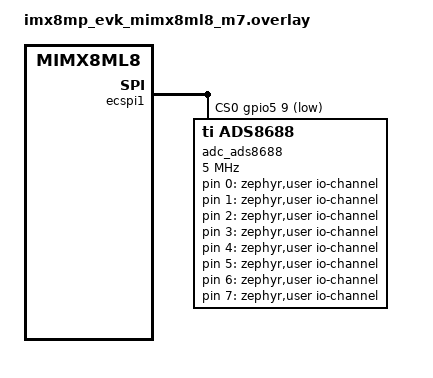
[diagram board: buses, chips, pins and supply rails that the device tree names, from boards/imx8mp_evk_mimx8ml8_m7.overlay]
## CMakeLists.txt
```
cmake_minimum_required(VERSION 3.20.0)

# ADS868x ドライバはこのリポで保守する out-of-tree モジュール (zephyr-modules/ads868x)
list(APPEND EXTRA_ZEPHYR_MODULES ${CMAKE_CURRENT_SOURCE_DIR}/../../zephyr-modules/ads868x)

find_package(Zephyr REQUIRED HINTS $ENV{ZEPHYR_BASE})
project(adc_dt)

target_sources(app PRIVATE src/main.c)
target_sources_ifdef(CONFIG_SOC_MIMX8ML8 app PRIVATE src/imx8mp_clocks.c)
```

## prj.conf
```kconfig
# adc-dt — ADS868x ドライバ (zephyr-modules/ads868x) の実機確認。
# Zephyr の samples/drivers/adc/adc_dt 相当: DT の zephyr,user io-channels を
# 標準 ADC API (adc_channel_setup_dt / adc_read_dt / adc_raw_to_millivolts_dt) で読む。
CONFIG_ADC=y
CONFIG_GPIO=y
CONFIG_MAIN_STACK_SIZE=2048
CONFIG_PRINTK=y
# ドライバの LOG_ERR を printk (RAM console) に出す
CONFIG_LOG=y
CONFIG_LOG_MODE_MINIMAL=y

# remoteproc (imx_rproc) は .resource_table の無い ELF を start すると Oops する
# (adc-test の prj.conf 参照)。rpmsg は使わないがテーブルのためだけに有効化。
CONFIG_OPENAMP=y
CONFIG_OPENAMP_RSC_TABLE=y
CONFIG_OPENAMP_MASTER=n
CONFIG_HEAP_MEM_POOL_SIZE=2048
```

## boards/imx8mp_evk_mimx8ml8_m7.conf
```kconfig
# DEBIX Infinity (i.MX8MP) M7。コンソールは RAM console
# (Linux から cat /sys/kernel/debug/remoteproc/remoteproc0/trace0)。
CONFIG_RAM_CONSOLE=y
CONFIG_RAM_CONSOLE_BUFFER_SIZE=8192
CONFIG_UART_CONSOLE=n
CONFIG_SPI_MCUX_ECSPI=y
```

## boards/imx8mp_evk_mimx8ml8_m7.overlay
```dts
#include <zephyr/dt-bindings/gpio/gpio.h>
#include <zephyr/dt-bindings/adc/adc.h>
/*
 * DEBIX Infinity (i.MX8MP) M7: ADS8688 @ ECSPI1 (J2 ヘッダー)。配線は adc-test と同じ
 * (Pin20 SCLK / Pin16 MOSI / Pin18 MISO / Pin14 SS0 = GPIO5_IO09 を CS)。
 * ECSPI1 のクロック (CCGR7 gate + ROOT120) は src/imx8mp_clocks.c が立てる。
 *
 * チャネル設定 (adc-test は全 ch 0〜5.12V = range 0x06):
 *   ch0-5: 0〜5.12V (ADC_GAIN_4_5)                → adc-test の mV と直接比較
 *   ch6  : ±5.12V  (ADC_GAIN_4_5 + differential) → bipolar/符号付き経路の確認
 *   ch7  : 0〜10.24V (ADC_GAIN_2_5)               → もう一方の unipolar レンジの確認
 */
/ {
	zephyr,user {
		io-channels = <&adc_ads8688 0>, <&adc_ads8688 1>, <&adc_ads8688 2>,
			      <&adc_ads8688 3>, <&adc_ads8688 4>, <&adc_ads8688 5>,
			      <&adc_ads8688 6>, <&adc_ads8688 7>;
	};
};

&pinctrl {
	ecspi1_adc: ecspi1_adc {
		group0 {
			pinmux = <&iomuxc_ecspi1_sclk_ecspi_sclk_ecspi1_sclk>,
				 <&iomuxc_ecspi1_mosi_ecspi_mosi_ecspi1_mosi>,
				 <&iomuxc_ecspi1_miso_ecspi_miso_ecspi1_miso>,
				 <&iomuxc_ecspi1_ss0_gpio_io_gpio5_io9>;	/* ADS8688 CS */
			slew-rate = "fast";
			drive-strength = "x2";
		};
	};
};

&gpio5 {
	status = "okay";
};

&ecspi1 {
	status = "okay";
	pinctrl-0 = <&ecspi1_adc>;
	pinctrl-names = "default";
	cs-gpios = <&gpio5 9 GPIO_ACTIVE_LOW>;

	adc_ads8688: ads8688@0 {
		compatible = "ti,ads8688";
		reg = <0>;
		spi-max-frequency = <5000000>;
		#io-channel-cells = <1>;
		#address-cells = <1>;
		#size-cells = <0>;
		status = "okay";

		channel@0 {
			reg = <0>;
			zephyr,gain = "ADC_GAIN_4_5";
			zephyr,reference = "ADC_REF_INTERNAL";
			zephyr,acquisition-time = <ADC_ACQ_TIME_DEFAULT>;
			zephyr,resolution = <16>;
		};
		channel@1 {
			reg = <1>;
			zephyr,gain = "ADC_GAIN_4_5";
			zephyr,reference = "ADC_REF_INTERNAL";
			zephyr,acquisition-time = <ADC_ACQ_TIME_DEFAULT>;
			zephyr,resolution = <16>;
		};
		channel@2 {
			reg = <2>;
			zephyr,gain = "ADC_GAIN_4_5";
			zephyr,reference = "ADC_REF_INTERNAL";
			zephyr,acquisition-time = <ADC_ACQ_TIME_DEFAULT>;
			zephyr,resolution = <16>;
		};
		channel@3 {
			reg = <3>;
			zephyr,gain = "ADC_GAIN_4_5";
			zephyr,reference = "ADC_REF_INTERNAL";
			zephyr,acquisition-time = <ADC_ACQ_TIME_DEFAULT>;
			zephyr,resolution = <16>;
		};
		channel@4 {
			reg = <4>;
			zephyr,gain = "ADC_GAIN_4_5";
			zephyr,reference = "ADC_REF_INTERNAL";
			zephyr,acquisition-time = <ADC_ACQ_TIME_DEFAULT>;
			zephyr,resolution = <16>;
		};
		channel@5 {
			reg = <5>;
			zephyr,gain = "ADC_GAIN_4_5";
			zephyr,reference = "ADC_REF_INTERNAL";
			zephyr,acquisition-time = <ADC_ACQ_TIME_DEFAULT>;
			zephyr,resolution = <16>;
		};
		channel@6 {
			reg = <6>;
			zephyr,gain = "ADC_GAIN_4_5";
			zephyr,reference = "ADC_REF_INTERNAL";
			zephyr,acquisition-time = <ADC_ACQ_TIME_DEFAULT>;
			zephyr,resolution = <16>;
			zephyr,differential;	/* ±5.12V */
		};
		channel@7 {
			reg = <7>;
			zephyr,gain = "ADC_GAIN_2_5";	/* 0〜10.24V */
			zephyr,reference = "ADC_REF_INTERNAL";
			zephyr,acquisition-time = <ADC_ACQ_TIME_DEFAULT>;
			zephyr,resolution = <16>;
		};
	};
};
```

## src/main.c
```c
/*
 * adc-dt — ADS868x ドライバ (zephyr-modules/ads868x) の実機確認。
 *
 * Zephyr の samples/drivers/adc/adc_dt と同じ流儀で DT の zephyr,user io-channels を
 * 標準 ADC API で読む。加えて全チャネルを 1 シーケンス (channels マスク) で読み、
 * 1ch ずつの読みと一致することを確認する (ドライバのパイプライン読みの検証)。
 * bipolar チャネルは符号付き 16bit として扱う。
 */
#include <inttypes.h>
#include <zephyr/device.h>
#include <zephyr/devicetree.h>
#include <zephyr/drivers/adc.h>
#include <zephyr/kernel.h>
#include <zephyr/sys/printk.h>
#include <zephyr/sys/util.h>

#if !DT_NODE_EXISTS(DT_PATH(zephyr_user)) || !DT_NODE_HAS_PROP(DT_PATH(zephyr_user), io_channels)
#error "No suitable devicetree overlay specified"
#endif

#define DT_SPEC_AND_COMMA(node_id, prop, idx) ADC_DT_SPEC_GET_BY_IDX(node_id, idx),

static const struct adc_dt_spec adc_channels[] = {
	DT_FOREACH_PROP_ELEM(DT_PATH(zephyr_user), io_channels, DT_SPEC_AND_COMMA)
};

static int32_t to_value(const struct adc_dt_spec *spec, uint16_t raw)
{
	return spec->channel_cfg.differential ? (int32_t)(int16_t)raw : (int32_t)raw;
}

int main(void)
{
	uint16_t buf;
	uint16_t all[ARRAY_SIZE(adc_channels)];
	struct adc_sequence sequence = {
		.buffer = &buf,
		.buffer_size = sizeof(buf),
	};
	struct adc_sequence all_seq = {
		.channels = 0,
		.buffer = all,
		.buffer_size = sizeof(all),
		.resolution = 16,
	};
	uint32_t count = 0;
	int err;

	printk("adc-dt: %u channels\n", (unsigned int)ARRAY_SIZE(adc_channels));

	for (size_t i = 0; i < ARRAY_SIZE(adc_channels); i++) {
		if (!adc_is_ready_dt(&adc_channels[i])) {
			printk("ADC controller device %s not ready\n", adc_channels[i].dev->name);
			return 0;
		}
		err = adc_channel_setup_dt(&adc_channels[i]);
		if (err < 0) {
			printk("Could not setup channel #%u (%d)\n", (unsigned int)i, err);
			return 0;
		}
		all_seq.channels |= BIT(adc_channels[i].channel_id);
	}

	while (1) {
		printk("ADC reading[%u]:\n", count++);
		for (size_t i = 0; i < ARRAY_SIZE(adc_channels); i++) {
			int32_t val_mv;

			(void)adc_sequence_init_dt(&adc_channels[i], &sequence);
			err = adc_read_dt(&adc_channels[i], &sequence);
			if (err < 0) {
				printk("- ch%d: read failed (%d)\n", adc_channels[i].channel_id, err);
				continue;
			}
			val_mv = to_value(&adc_channels[i], buf);
			printk("- ch%d: raw=0x%04x %" PRId32, adc_channels[i].channel_id, buf, val_mv);
			err = adc_raw_to_millivolts_dt(&adc_channels[i], &val_mv);
			if (err < 0) {
				printk(" (mV n/a)\n");
			} else {
				printk(" = %" PRId32 " mV\n", val_mv);
			}
		}

		/* 全チャネルを 1 シーケンスで (順序は channel 番号順) */
		err = adc_read(adc_channels[0].dev, &all_seq);
		if (err < 0) {
			printk("- all: read failed (%d)\n", err);
		} else {
			printk("- all:");
			for (size_t i = 0; i < ARRAY_SIZE(adc_channels); i++) {
				printk(" 0x%04x", all[i]);
			}
			printk("\n");
		}

		k_sleep(K_MSEC(1000));
	}
	return 0;
}
```

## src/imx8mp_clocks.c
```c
/*
 * i.MX8MP (DEBIX) M7: ECSPI1 のクロックを自前で立てる (adc-test の m7_clocks_enable と同一)。
 *
 * Zephyr の ccm ドライバは ECSPI について「SYS_PLL1 / root 分周」でレートを計算するだけで
 * gate も root も立てない。falcon 経路では U-Boot proper も通らないので M7 が立てる。
 * ROOT120 = ECSPI1_CLK_ROOT: EN | MUX=4 (SYS_PLL1 800MHz) | PRE=/1 | POST=/16 → 50MHz。
 */
#include <zephyr/init.h>
#include <fsl_clock.h>

#define CCM_ECSPI1_CLK_ROOT	0x3038BC00u	/* CCM TARGET_ROOT120 */
#define ECSPI1_CONREG		0x30820008u

static int imx8mp_ecspi1_clocks_enable(void)
{
	*(volatile uint32_t *)CCM_ECSPI1_CLK_ROOT = (1u << 28) | (4u << 24) | (0u << 16) | 15u;
	CLOCK_EnableClock(kCLOCK_Ecspi1);
	CLOCK_EnableClock(kCLOCK_Gpio5);
	/* 前任が SPI 転送中に止められていても白紙から: CONREG=0 (ECSPI disable) */
	*(volatile uint32_t *)ECSPI1_CONREG = 0;
	return 0;
}
SYS_INIT(imx8mp_ecspi1_clocks_enable, PRE_KERNEL_1, 0);
```
